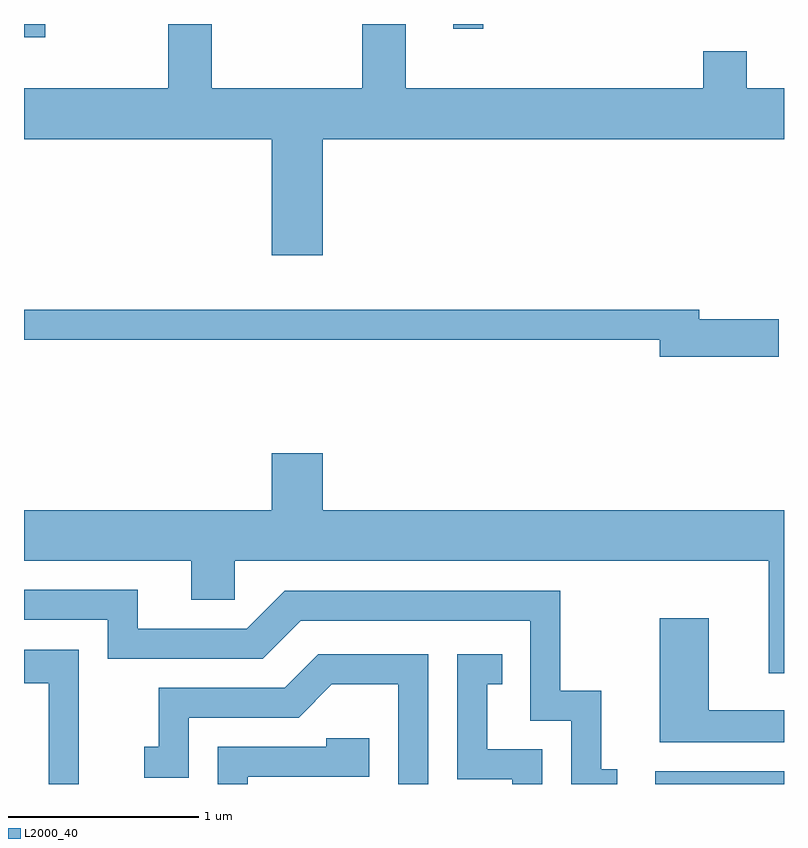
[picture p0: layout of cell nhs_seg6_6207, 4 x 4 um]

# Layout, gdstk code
import gdstk
lib = gdstk.Library(unit=1e-6, precision=1e-09)
def R(c, l, rs):  # rectangles x0, y0, x1, y1
    for r in rs: c.add(gdstk.rectangle(r[:2], r[2:], *l))
def P(c, l, *ps):  # polygons
    for p in ps: c.add(gdstk.Polygon(p, *l))
L2000_40 = (2000, 40)

nhs_seg6_6207 = lib.new_cell('nhs_seg6_6207')
R(nhs_seg6_6207, L2000_40, [(376.933,1582.162,377.611,1582.229), (373.611,1586.093,373.724,1586.162), (375.871,1586.138,376.029,1586.162)])
P(nhs_seg6_6207, L2000_40, [(375.184,1585.556),(377.611,1585.556),(377.611,1585.824),(377.414,1585.824),(377.414,1586.019),(377.186,1586.019),(377.186,1585.824),(375.619,1585.824),(375.619,1586.162),(375.391,1586.162),(375.391,1585.824),(374.599,1585.824),(374.599,1586.162),(374.371,1586.162),(374.371,1585.824),(373.611,1585.824),(373.611,1585.556),(374.916,1585.556),(374.916,1584.946),(375.184,1584.946)],
  [(377.584,1584.609),(377.164,1584.609),(377.164,1584.659),(373.611,1584.659),(373.611,1584.501),(376.956,1584.501),(376.956,1584.411),(377.584,1584.411)],
  [(377.611,1583.604),(375.184,1583.604),(375.184,1583.904),(374.916,1583.904),(374.916,1583.604),(373.611,1583.604),(373.611,1583.336),(374.491,1583.336),(374.491,1583.131),(374.719,1583.131),(374.719,1583.336),(377.531,1583.336),(377.531,1582.746),(377.611,1582.746)],
  [(376.733,1582.239),(376.649,1582.239),(376.649,1582.654),(376.434,1582.654),(376.434,1583.179),(374.984,1583.179),(374.784,1582.979),(374.209,1582.979),(374.209,1583.184),(373.611,1583.184),(373.611,1583.026),(374.051,1583.026),(374.051,1582.821),(374.867,1582.821),(375.067,1583.021),(376.276,1583.021),(376.276,1582.496),(376.491,1582.496),(376.491,1582.162),(376.733,1582.162)],
  [(377.611,1582.549),(377.214,1582.549),(377.214,1583.034),(376.956,1583.034),(376.956,1582.381),(377.611,1582.381)],
  [(373.899,1582.869),(373.611,1582.869),(373.611,1582.691),(373.741,1582.691),(373.741,1582.162),(373.899,1582.162)],
  [(375.739,1582.844),(375.159,1582.844),(374.984,1582.669),(374.321,1582.669),(374.321,1582.359),(374.243,1582.359),(374.243,1582.196),(374.479,1582.196),(374.479,1582.511),(375.057,1582.511),(375.232,1582.686),(375.581,1582.686),(375.581,1582.162),(375.739,1582.162)],
  [(376.339,1582.344),(376.049,1582.344),(376.049,1582.686),(376.128,1582.686),(376.128,1582.844),(375.891,1582.844),(375.891,1582.186),(376.181,1582.186),(376.181,1582.162),(376.339,1582.162)],
  [(374.789,1582.201),(375.429,1582.201),(375.429,1582.404),(375.201,1582.404),(375.201,1582.359),(374.631,1582.359),(374.631,1582.162),(374.789,1582.162)])

lib.write_gds('nhs_seg6_6207.gds')
